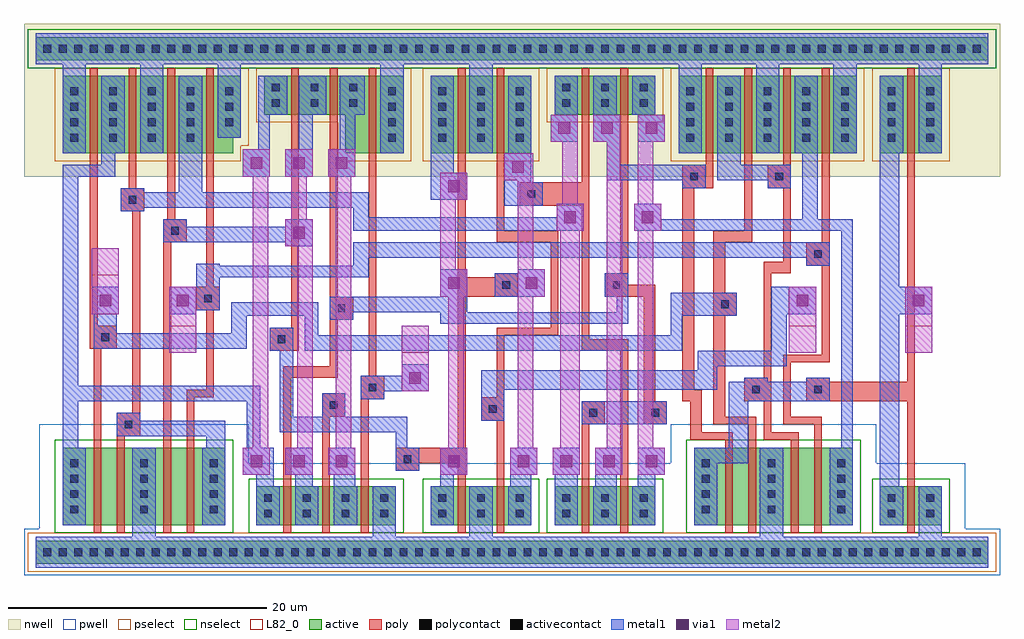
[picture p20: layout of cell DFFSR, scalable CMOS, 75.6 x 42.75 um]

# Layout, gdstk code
import gdstk
lib = gdstk.Library(unit=1e-6, precision=1e-09)
def R(c, l, rs):  # rectangles x0, y0, x1, y1
    for r in rs: c.add(gdstk.rectangle(r[:2], r[2:], *l))
def A(c, l, x, y, w, h, nx, ny, dx, dy):  # array of equal rectangles
    R(c, l, [(x+i*dx, y+j*dy, x+i*dx+w, y+j*dy+h) for i in range(nx) for j in range(ny)])
pwell = (41, 0)
nwell = (42, 0)
active = (43, 0)
pselect = (44, 0)
nselect = (45, 0)
poly = (46, 0)
polycontact = (47, 0)
activecontact = (48, 0)
metal1 = (49, 0)
via1 = (50, 0)
metal2 = (51, 0)
L82_0 = (82, 0)

dffsr = lib.new_cell('DFFSR')
R(dffsr, pwell, [(-1.8,-1.8,73.8,1.8), (-0.6,1.8,71.1,6.9), (-0.6,6.9,15.6,9.9), (48.3,6.9,64.2,9.9)])
R(dffsr, nwell, [(-1.8,29.1,73.8,40.95)])
R(dffsr, active, [(-0.9,-0.9,72.9,0.9), (1.2,2.1,13.8,8.1), (16.2,2.1,27,5.1), (29.7,2.1,37.5,5.1), (39.3,2.1,47.1,5.1), (50.1,2.1,62.4,8.1), (64.5,2.1,69.3,5.1), (1.2,30.9,14.4,32.1), (23.1,30.9,27.6,33.9), (29.7,30.9,37.5,36.9), (48.9,30.9,62.7,36.9), (64.5,30.9,69.3,36.9), (1.2,32.1,15,36.9), (16.8,33.9,27.6,36.9), (39.3,33.9,47.1,36.9), (-0.9,38.1,72.9,39.9)])
R(dffsr, pselect, [(-1.5,-1.5,73.5,1.5), (0.6,30.3,15,31.5), (22.5,30.3,28.2,33.3), (29.1,30.3,38.1,37.5), (48.3,30.3,63.3,37.5), (63.9,30.3,69.9,37.5), (0.6,31.5,15.6,37.5), (16.2,33.3,28.2,37.5), (38.7,33.3,47.7,37.5)])
R(dffsr, nselect, [(0.6,1.5,14.4,8.7), (15.6,1.5,27.6,5.7), (29.1,1.5,38.1,5.7), (38.7,1.5,47.7,5.7), (49.5,1.5,63,8.7), (63.9,1.5,69.9,5.7), (-1.5,37.5,73.5,40.5)])
R(dffsr, poly, [(3.6,1.5,4.2,15.75), (5.4,1.5,6,9), (9,1.5,9.6,24), (10.8,1.5,11.4,12), (18.3,1.5,18.9,13.5), (21.3,1.5,21.9,10.5), (24.3,1.5,24.9,11.85), (31.8,1.5,32.4,6.9), (34.8,1.5,35.4,10.2), (41.4,1.5,42,9.9), (44.4,1.5,45,15.6), (52.5,1.5,53.1,8.7), (54.3,1.5,54.9,9.9), (57.6,1.5,58.2,8.7), (59.4,1.5,60,9.9), (66.6,1.5,67.2,11.7), (27,6.3,28.8,6.9), (27,6.9,32.4,8.1), (31.8,8.1,32.4,19.8), (49.8,8.7,53.1,9.3), (55.5,8.7,58.2,9.3), (5.4,9,7.2,10.8), (49.8,9.3,50.7,11.7), (55.5,9.3,56.1,11.7), (41.4,9.9,43.2,11.7), (46.2,9.9,48,11.7), (51.6,9.9,54.9,10.5), (57,9.9,60,10.5), (33.6,10.2,35.4,12), (21.3,10.5,23.1,12.3), (51.6,10.5,52.5,18.3), (57,10.5,57.6,14.7), (6.6,10.8,7.2,26.4), (46.2,11.7,47.1,19.8), (49.2,11.7,50.7,12.6), (54,11.7,56.1,13.5), (58.8,11.7,67.2,13.2), (24.3,11.85,26.1,13.65), (10.8,12,12.9,12.6), (34.8,12,35.4,16.8), (12.3,12.6,12.9,18.75), (49.2,12.6,50.1,28.2), (58.8,13.2,60.6,13.5), (66.6,13.2,67.2,37.5), (18.3,13.5,22.5,14.4), (55.5,13.5,56.1,21.6), (24.9,13.65,25.5,37.5), (21.9,14.4,22.5,18), (57,14.7,60.6,15.3), (60,15.3,60.6,22.2), (17.25,15.6,19.5,17.4), (41.4,15.6,45,16.5), (3.3,15.75,5.4,17.55), (41.4,16.5,42,26.85), (34.8,16.8,39.6,17.4), (18.9,17.4,19.5,37.5), (39,17.4,39.6,24), (3.3,17.55,3.9,37.5), (21.9,18,23.7,19.8), (51.6,18.3,53.4,20.1), (11.55,18.75,13.35,20.55), (21.9,19.8,22.5,37.5), (31.8,19.8,36.45,21.3), (43.2,19.8,47.1,20.7), (51.6,20.1,52.5,24), (12.3,20.55,12.9,37.5), (43.2,20.7,45,21.6), (31.8,21.3,32.4,37.5), (34.65,21.3,36.45,21.6), (44.4,21.6,45,37.5), (55.5,21.6,57.6,22.5), (58.8,22.2,60.6,24), (57,22.5,57.6,28.2), (9,24,10.8,25.8), (34.8,24,39.6,24.9), (51.6,24,54.6,24.9), (60,24,60.6,37.5), (34.8,24.9,35.4,37.5), (54,24.9,54.6,37.5), (9.3,25.8,9.9,37.5), (5.7,26.4,7.5,28.2), (36.6,26.85,42,28.65), (6.3,28.2,6.9,37.5), (49.2,28.2,51.6,30), (55.8,28.2,57.6,30), (41.4,28.65,42,37.5), (51,30,51.6,37.5), (57,30,57.6,37.5)])
R(dffsr, polycontact, [(27.6,6.9,28.2,7.5), (6,9.6,6.6,10.2), (42,10.5,42.6,11.1), (46.8,10.5,47.4,11.1), (34.2,10.8,34.8,11.4), (21.9,11.1,22.5,11.7), (54.6,12.3,55.2,12.9), (59.4,12.3,60,12.9), (24.9,12.45,25.5,13.05), (17.85,16.2,18.45,16.8), (4.2,16.35,4.8,16.95), (22.5,18.6,23.1,19.2), (52.2,18.9,52.8,19.5), (12.15,19.35,12.75,19.95), (35.25,20.4,35.85,21), (43.8,20.4,44.4,21), (59.4,22.8,60,23.4), (9.6,24.6,10.2,25.2), (6.3,27,6.9,27.6), (37.2,27.45,37.8,28.05), (49.8,28.8,50.4,29.4), (56.4,28.8,57,29.4)])
A(dffsr, activecontact, -0.3, -0.3, 0.6, 0.6, 61, 2, 1.2, 39)
A(dffsr, activecontact, 16.8, 2.7, 0.6, 0.6, 4, 2, 3, 1.2)
A(dffsr, activecontact, 30.3, 2.7, 0.6, 0.6, 3, 2, 3, 1.2)
A(dffsr, activecontact, 39.9, 2.7, 0.6, 0.6, 3, 2, 3, 1.2)
A(dffsr, activecontact, 1.8, 3, 0.6, 0.6, 3, 4, 5.4, 1.2)
A(dffsr, activecontact, 50.7, 3, 0.6, 0.6, 1, 4, 0, 1.2)
A(dffsr, activecontact, 55.8, 3, 0.6, 0.6, 1, 4, 0, 1.2)
A(dffsr, activecontact, 61.2, 3, 0.6, 0.6, 1, 4, 0, 1.2)
A(dffsr, activecontact, 1.8, 31.8, 0.6, 0.6, 4, 1, 3, 0)
A(dffsr, activecontact, 26.4, 31.8, 0.6, 0.6, 1, 4, 0, 1.2)
A(dffsr, activecontact, 30.3, 31.8, 0.6, 0.6, 3, 4, 3, 1.2)
A(dffsr, activecontact, 49.5, 31.8, 0.6, 0.6, 5, 4, 3, 1.2)
A(dffsr, activecontact, 65.1, 31.8, 0.6, 0.6, 1, 4, 0, 1.2)
A(dffsr, activecontact, 68.1, 31.8, 0.6, 0.6, 1, 4, 0, 1.2)
A(dffsr, activecontact, 1.8, 33, 0.6, 0.6, 5, 3, 3, 1.2)
A(dffsr, activecontact, 17.4, 34.5, 0.6, 0.6, 3, 2, 3, 1.2)
A(dffsr, activecontact, 39.9, 34.5, 0.6, 0.6, 3, 2, 3, 1.2)
R(dffsr, activecontact, [(65.1,2.7,65.7,3.3), (68.1,2.7,68.7,3.3), (65.1,3.9,65.7,4.5), (68.1,3.9,68.7,4.5)])
A(dffsr, metal1, 16.2, 2.1, 1.8, 3, 3, 1, 3, 0)
A(dffsr, metal1, 35.85, 6, 2.1, 2.1, 4, 1, 3.3, 0)
A(dffsr, metal1, 15.15, 29.1, 2.1, 2.1, 3, 1, 3.3, 0)
A(dffsr, metal1, 48.9, 30.9, 1.8, 6.9, 3, 1, 6, 0)
A(dffsr, metal1, 39.3, 33.9, 1.8, 3, 3, 1, 3, 0)
R(dffsr, metal1, [(-0.9,-1.2,72.9,1.2), (6.6,1.2,8.4,8.1), (25.2,1.2,27,5.1), (32.7,1.2,34.5,5.1), (55.2,1.2,57,8.1), (67.5,1.2,69.3,5.1), (1.2,2.1,3,8.1), (12,2.1,13.8,8.1), (29.7,2.1,31.5,5.1), (35.7,2.1,37.5,5.1), (39.3,2.1,41.1,6), (42.3,2.1,44.1,5.1), (45.3,2.1,47.1,5.1), (50.1,2.1,51.9,6.9), (60.6,2.1,62.4,8.1), (64.5,2.1,66.3,5.1), (16.2,5.1,17.55,6), (19.2,5.1,20.55,6), (22.2,5.1,23.85,6), (30.45,5.1,31.5,6), (35.85,5.1,37.5,6), (42.45,5.1,44.1,6), (45.75,5.1,47.1,6), (64.5,5.1,66,18.45), (15.15,6,17.55,8.1), (18.45,6,20.55,8.1), (21.75,6,23.85,8.1), (30.45,6,32.55,8.1), (27,6.3,28.8,8.1), (50.1,6.9,54.3,8.1), (1.2,8.1,2.4,11.7), (12.3,8.1,13.8,9), (15.45,8.1,16.5,11.7), (27,8.1,27.9,9.3), (52.8,8.1,54.3,11.7), (61.5,8.1,62.4,24.9), (5.4,9,13.8,10.2), (18,9.3,27.9,10.5), (41.4,9.9,48,11.7), (5.4,10.2,7.2,10.8), (33.6,10.2,35.4,12.6), (18,10.5,19.05,15.6), (21.3,10.5,23.1,12.3), (1.2,11.7,16.5,12.9), (52.8,11.7,60.6,13.2), (24.3,11.85,26.1,12.45), (24.3,12.45,29.55,13.65), (33.6,12.6,51.9,14.1), (1.2,12.9,2.4,29.1), (54,13.2,55.8,13.5), (58.8,13.2,60.6,13.5), (27.45,13.65,29.55,14.55), (50.4,14.1,51.9,14.4), (50.4,14.4,57.3,15.6), (17.25,15.6,19.05,17.4), (19.95,15.6,49.2,16.8), (56.1,15.6,57.3,18.45), (3.6,15.75,15.45,16.95), (19.95,16.8,21,18.3), (48.3,16.8,49.2,18.3), (3.6,16.95,5.4,18.45), (14.25,16.95,15.45,18.3), (30.45,17.7,45,18.6), (21.9,18,23.7,18.6), (14.25,18.3,21,19.35), (48.3,18.3,53.4,20.1), (3.45,18.45,5.55,20.55), (9.45,18.45,11.55,18.75), (56.1,18.45,59.55,20.55), (64.5,18.45,68.55,20.55), (21.9,18.6,32.55,19.8), (44.1,18.6,45,19.8), (9.45,18.75,13.35,20.55), (30.45,19.8,32.55,21.9), (34.65,19.8,38.55,21.6), (43.2,19.8,45,21.6), (11.55,20.55,13.35,21.3), (64.5,20.55,66,30.9), (11.55,21.3,24.9,22.2), (36.45,21.6,38.55,21.9), (11.55,22.2,13.35,22.35), (23.7,22.2,24.9,22.8), (58.8,22.2,60.6,22.8), (23.7,22.8,60.6,24), (18.45,23.7,20.55,24), (9,24,20.55,25.2), (23.7,24.9,41.55,25.95), (45.45,24.9,62.4,25.8), (9,25.2,10.8,25.8), (18.45,25.2,20.55,25.8), (45.45,25.8,47.55,27), (58.5,25.8,59.7,30.9), (23.7,25.95,24.9,26.7), (39.45,25.95,41.55,27), (5.7,26.4,7.5,26.7), (5.7,26.7,24.9,27.9), (35.4,26.85,38.4,28.65), (29.7,27.3,32.55,29.4), (5.7,27.9,7.5,28.2), (10.2,27.9,12,36.9), (49.2,28.2,51,28.8), (55.8,28.2,57.6,28.8), (35.4,28.65,37.5,30.9), (43.35,28.8,51,30), (51.9,28.8,57.6,30), (1.2,29.1,5.25,30), (29.7,29.4,31.5,36.9), (4.2,30,5.25,30.9), (43.35,30,44.4,31.8), (51.9,30,53.7,36.9), (1.2,30.9,3,37.8), (4.2,30.9,6,36.9), (7.2,30.9,9,37.8), (25.8,30.9,27.6,37.8), (32.7,30.9,34.5,37.8), (35.7,30.9,37.5,36.9), (57.9,30.9,59.7,36.9), (64.5,30.9,66.3,36.9), (67.5,30.9,69.3,37.8), (16.35,31.2,17.25,33.9), (19.5,31.2,20.55,33.9), (22.65,31.2,23.85,33.9), (39,31.8,41.1,33.9), (42.3,31.8,44.4,33.9), (45.75,31.8,47.85,33.9), (13.2,32.1,15,37.8), (16.35,33.9,18.6,36.9), (19.5,33.9,21.6,36.9), (22.65,33.9,24.6,36.9), (-0.9,37.8,72.9,40.2)])
A(dffsr, via1, 15.75, 6.6, 0.9, 0.9, 3, 2, 3.3, 23.1)
A(dffsr, via1, 36.45, 6.6, 0.9, 0.9, 4, 1, 3.3, 0)
R(dffsr, via1, [(31.05,6.6,31.95,7.5), (28.05,13.05,28.95,13.95), (4.05,19.05,4.95,19.95), (10.05,19.05,10.95,19.95), (58.05,19.05,58.95,19.95), (67.05,19.05,67.95,19.95), (31.05,20.4,31.95,21.3), (37.05,20.4,37.95,21.3), (19.05,24.3,19.95,25.2), (40.05,25.5,40.95,26.4), (46.05,25.5,46.95,26.4), (31.05,27.9,31.95,28.8), (36,29.4,36.9,30.3), (39.6,32.4,40.5,33.3), (42.9,32.4,43.8,33.3), (46.35,32.4,47.25,33.3)])
A(dffsr, metal2, 15.15, 6, 2.1, 2.1, 3, 2, 3.3, 23.1)
A(dffsr, metal2, 35.85, 6, 2.1, 2.1, 4, 1, 3.3, 0)
R(dffsr, metal2, [(30.45,6,32.55,8.1), (15.9,8.1,17.1,29.1), (19.35,8.1,20.55,23.7), (22.35,8.1,23.55,29.1), (31.05,8.1,32.25,19.8), (36.45,8.1,37.65,19.8), (39.75,8.1,41.25,24.9), (43.35,8.1,44.55,28.8), (45.75,8.1,46.95,24.9), (27.45,12.45,29.55,17.55), (9.45,15.45,11.55,20.55), (57.45,15.45,59.55,20.55), (66.45,15.45,68.55,20.55), (3.45,18.45,5.55,23.55), (30.45,19.8,32.55,21.9), (36.45,19.8,38.55,21.9), (30.45,21.9,31.65,27.3), (36.45,21.9,37.65,28.8), (18.45,23.7,20.55,25.8), (39.45,24.9,41.55,27), (45.45,24.9,47.55,27), (18.9,25.8,20.1,29.1), (39.9,27,41.1,31.8), (45.75,27,46.95,31.8), (30.45,27.3,32.55,29.4), (35.4,28.8,37.65,30.9), (43.35,28.8,44.4,31.8), (39,31.8,41.1,33.9), (42.3,31.8,44.4,33.9), (45.75,31.8,47.85,33.9)])
R(dffsr, L82_0, [(9.45,15.45,11.55,17.55), (27.45,15.45,29.55,17.55), (57.45,15.45,59.55,17.55), (66.45,15.45,68.55,17.55), (3.45,21.45,5.55,23.55)])

lib.write_gds('DFFSR.gds')
